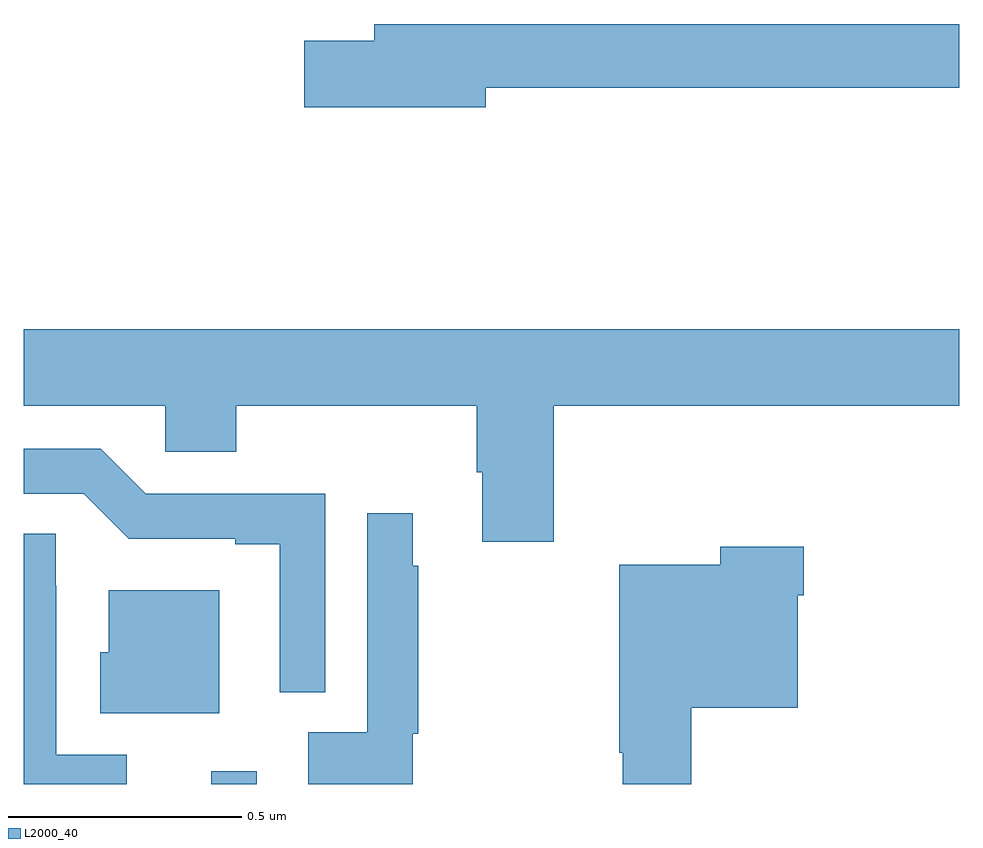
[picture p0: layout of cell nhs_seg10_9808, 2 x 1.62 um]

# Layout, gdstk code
import gdstk
lib = gdstk.Library(unit=1e-6, precision=1e-09)
def R(c, l, rs):  # rectangles x0, y0, x1, y1
    for r in rs: c.add(gdstk.rectangle(r[:2], r[2:], *l))
def P(c, l, *ps):  # polygons
    for p in ps: c.add(gdstk.Polygon(p, *l))
L2000_40 = (2000, 40)

nhs_seg10_9808 = lib.new_cell('nhs_seg10_9808')
R(nhs_seg10_9808, L2000_40, [(234.401,1307.5,234.498,1307.527)])
P(nhs_seg10_9808, L2000_40, [(234.988,1308.988),(236,1308.988),(236,1309.124),(234.749,1309.124),(234.749,1309.088),(234.6,1309.088),(234.6,1308.946),(234.988,1308.946)],
  [(235.133,1308.308),(236,1308.308),(236,1308.472),(234,1308.472),(234,1308.308),(234.303,1308.308),(234.303,1308.21),(234.455,1308.21),(234.455,1308.308),(234.968,1308.308),(234.968,1308.166),(234.98,1308.166),(234.98,1308.018),(235.133,1308.018)],
  [(234.645,1308.12),(234.261,1308.12),(234.165,1308.216),(234,1308.216),(234,1308.12),(234.129,1308.12),(234.225,1308.024),(234.452,1308.024),(234.452,1308.012),(234.548,1308.012),(234.548,1307.696),(234.645,1307.696)],
  [(234.832,1307.607),(234.844,1307.607),(234.844,1307.966),(234.832,1307.966),(234.832,1308.079),(234.735,1308.079),(234.735,1307.611),(234.608,1307.611),(234.608,1307.5),(234.832,1307.5)],
  [(234.221,1307.562),(234.07,1307.562),(234.07,1307.924),(234.069,1307.924),(234.069,1308.035),(234,1308.035),(234,1307.5),(234.221,1307.5)],
  [(235.427,1307.663),(235.654,1307.663),(235.654,1307.903),(235.667,1307.903),(235.667,1308.007),(235.489,1308.007),(235.489,1307.968),(235.273,1307.968),(235.273,1307.567),(235.28,1307.567),(235.28,1307.5),(235.427,1307.5)],
  [(234.418,1307.914),(234.182,1307.914),(234.182,1307.781),(234.164,1307.781),(234.164,1307.651),(234.418,1307.651)])

lib.write_gds('nhs_seg10_9808.gds')
